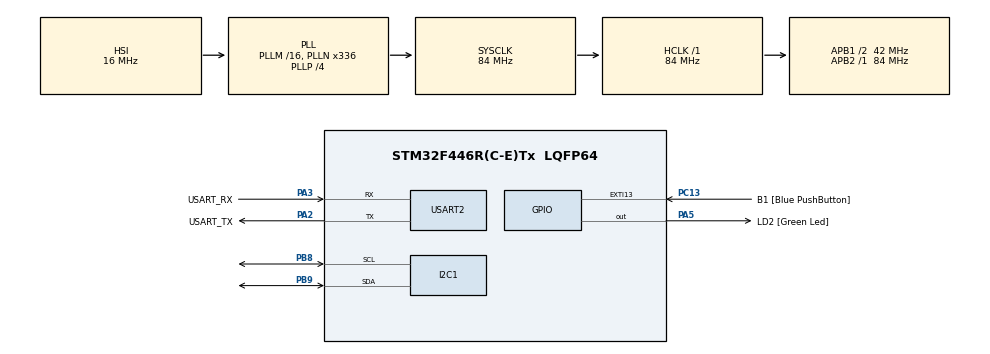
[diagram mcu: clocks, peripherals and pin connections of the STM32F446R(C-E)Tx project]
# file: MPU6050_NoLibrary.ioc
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Mcu.Family=STM32F4
Mcu.Name=STM32F446R(C-E)Tx
Mcu.Package=LQFP64
NVIC.PriorityGroup=NVIC_PRIORITYGROUP_0
NVIC.TIM3_IRQn=true\:0\:0\:false\:false\:true\:true\:true\:true
PA13.GPIO_Label=TMS
PA13.Mode=Serial_Wire
PA13.Signal=SYS_JTMS-SWDIO
PA14.GPIO_Label=TCK
PA14.Mode=Serial_Wire
PA14.Signal=SYS_JTCK-SWCLK
PA2.GPIO_Label=USART_TX
PA2.Mode=Asynchronous
PA2.Signal=USART2_TX
PA3.GPIO_Label=USART_RX
PA3.Mode=Asynchronous
PA3.Signal=USART2_RX
PA5.GPIO_Label=LD2 [Green Led]
PA5.Signal=GPIO_Output
PB3.GPIO_Label=SWO
PB3.Signal=SYS_JTDO-SWO
PB8.Mode=I2C
PB8.Signal=I2C1_SCL
PB9.Mode=I2C
PB9.Signal=I2C1_SDA
PC13.GPIO_Label=B1 [Blue PushButton]
PC13.GPIO_ModeDefaultEXTI=GPIO_MODE_IT_FALLING
PC13.Signal=GPXTI13
PC14-OSC32_IN.Mode=LSE-External-Oscillator
PC14-OSC32_IN.Signal=RCC_OSC32_IN
PC15-OSC32_OUT.Mode=LSE-External-Oscillator
PC15-OSC32_OUT.Signal=RCC_OSC32_OUT
PH0-OSC_IN.Mode=HSE-External-Oscillator
PH0-OSC_IN.Signal=RCC_OSC_IN
PH1-OSC_OUT.Mode=HSE-External-Oscillator
PH1-OSC_OUT.Signal=RCC_OSC_OUT
ProjectManager.HeapSize=0x200
ProjectManager.StackSize=0x400
ProjectManager.TargetToolchain=STM32CubeIDE
RCC.48MHZClocksFreq_Value=84000000
RCC.AHBFreq_Value=84000000
RCC.APB1CLKDivider=RCC_HCLK_DIV2
RCC.APB1Freq_Value=42000000
RCC.APB1TimFreq_Value=84000000
RCC.APB2Freq_Value=84000000
RCC.APB2TimFreq_Value=84000000
RCC.CortexFreq_Value=84000000
RCC.FLatency-AdvancedSettings=FLASH_LATENCY_2
RCC.HCLKFreq_Value=84000000
RCC.HSE_VALUE=8000000
RCC.HSI_VALUE=16000000
RCC.PLLN=336
RCC.PLLP=RCC_PLLP_DIV4
RCC.SYSCLKFreq_VALUE=84000000
RCC.SYSCLKSource=RCC_SYSCLKSOURCE_PLLCLK
RCC.USBFreq_Value=168000000
RCC.VCOOutputFreq_Value=336000000
TIM3.Period=999
TIM3.Prescaler=159
USART2.VirtualMode=VM_ASYNC
VP_TIM3_VS_ClockSourceINT.Mode=Internal
board=NUCLEO-F446RE

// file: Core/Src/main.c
/* USER CODE BEGIN Header */
/**
  ******************************************************************************
  * @file           : main.c
  * @brief          : Main program body
  ******************************************************************************
  * @attention
  *
  * Copyright (c) 2023 STMicroelectronics.
  * All rights reserved.
  *
  * This software is licensed under terms that can be found in the LICENSE file
  * in the root directory of this software component.
  * If no LICENSE file comes with this software, it is provided AS-IS.
  *
  ******************************************************************************
  */
/* USER CODE END Header */
#include "main.h"

/* USER CODE BEGIN Includes */
#include "string.h"
#include "stdio.h"
#include <math.h>
/* USER CODE END Includes */

/* USER CODE BEGIN PD */
#define WHO_I_AM 0x75
#define MPU6050_ADDR 0xD0
#define PWR_MGMT_1 0x6B
#define SMPLRT_DIV 0x19
#define GYRO_CONFIG 0x1B
#define ACCEL_CONFIG 0x1C
#define ACCEL_XOUT_H 0x3B
/* USER CODE END PD */

I2C_HandleTypeDef hi2c1;

TIM_HandleTypeDef htim3;

UART_HandleTypeDef huart2;

/* USER CODE BEGIN PV */
float x_AccelBuffer[100], y_AccelBuffer[100], z_AccelBuffer[100];
float xVitesse[100], yVitesse[100], zVitesse[100];
float x_Accel, y_Accel, z_Accel;
float vitesse;
char msg[1024];
int indice = 0;
/* USER CODE END PV */

void SystemClock_Config(void);
static void MX_GPIO_Init(void);
static void MX_USART2_UART_Init(void);
static void MX_I2C1_Init(void);
static void MX_TIM3_Init(void);

/* USER CODE BEGIN 0 */

void send_uart(char *string)
{
	uint8_t len = strlen(string);
	HAL_UART_Transmit(&huart2, (uint8_t *) string, len, 2000);
}

void MPU6050_Init()
{
	uint8_t check, Data;
	HAL_I2C_Mem_Read(&hi2c1, MPU6050_ADDR, WHO_I_AM, 1, &check, 1, 1000);
	if(check == 104)
	{
		sprintf(msg, "---Initialization OK---\r\n");
		send_uart(msg);
		Data = 0;
		HAL_I2C_Mem_Write(&hi2c1,MPU6050_ADDR, PWR_MGMT_1, 1, &Data, 1, 100);

		Data = 0x07;
		HAL_I2C_Mem_Write(&hi2c1,MPU6050_ADDR, SMPLRT_DIV, 1, &Data, 1, 100);

		Data = 0x00;
		HAL_I2C_Mem_Write(&hi2c1,MPU6050_ADDR, ACCEL_CONFIG, 1, &Data, 1, 100);

		Data = 0x00;
		HAL_I2C_Mem_Write(&hi2c1,MPU6050_ADDR, GYRO_CONFIG, 1, &Data, 1, 100);
	}
}

void MPU6050_Read_Accel()
{
	uint8_t Rec_Data[6];
	HAL_I2C_Mem_Read(&hi2c1,MPU6050_ADDR, ACCEL_XOUT_H, 1, &Rec_Data, 6, 100);

	x_Accel = (uint16_t)(Rec_Data[0] << 8 | Rec_Data[1]) / 16384.0;
	y_Accel = (uint16_t)(Rec_Data[2] << 8 | Rec_Data[3]) / 16384.0;
	z_Accel = (uint16_t)(Rec_Data[4] << 8 | Rec_Data[5]) / 16384.0;

	sprintf(msg, "Acceleration RawData -> X : %f     Y : %f     Z : %f\r\n", x_Accel, y_Accel, z_Accel);
	send_uart(msg);
}

void MPU6050_ADD_Accel_To_Buffer()
{
	uint8_t Rec_Data[6];
	HAL_I2C_Mem_Read(&hi2c1,MPU6050_ADDR, ACCEL_XOUT_H, 1, &Rec_Data, 6, 100);

	x_AccelBuffer[indice] = (uint16_t)(Rec_Data[0] << 8 | Rec_Data[1]) / 16384.0;
	y_AccelBuffer[indice] = (uint16_t)(Rec_Data[2] << 8 | Rec_Data[3]) / 16384.0;
	z_AccelBuffer[indice] = (uint16_t)(Rec_Data[4] << 8 | Rec_Data[5]) / 16384.0;
}

void getSpeed()
{
	xVitesse[0] = 0;
	yVitesse[0] = 0;
	zVitesse[0] = 0;

	for(int i = 1; i < 100; i++)
	{
		xVitesse[i] = xVitesse[i-1] + (0.01/2)*(x_AccelBuffer[i] + x_AccelBuffer[i-1]);//Formule Trapèze
		yVitesse[i] = yVitesse[i-1] + (0.01/2)*(y_AccelBuffer[i] + y_AccelBuffer[i-1]);
		zVitesse[i] = zVitesse[i-1] + (0.01/2)*(z_AccelBuffer[i] + z_AccelBuffer[i-1]);
	}
	vitesse = sqrt(pow(xVitesse[99], 2) + pow(yVitesse[99], 2) + pow(zVitesse[99], 2));//Norme

//	sprintf(msg, "Acceleration -> X : %f     Y : %f     Z : %f\r\n", xVitesse[99], yVitesse[99], zVitesse[99]);
//	send_uart(msg);
}

void HAL_TIM_PeriodElapsedCallback(TIM_HandleTypeDef *htim)
{
	HAL_GPIO_TogglePin(LD2_GPIO_Port, LD2_Pin);

	MPU6050_ADD_Accel_To_Buffer();
	indice++;

	if(indice == 100)
	{
		getSpeed();
		sprintf(msg, "Speed -> %f 	\r\n", vitesse);
		send_uart(msg);
		indice = 0;
	}
}
/* USER CODE END 0 */

int main(void)
{

  /* MCU Configuration--------------------------------------------------------*/

  /* Reset of all peripherals, Initializes the Flash interface and the Systick. */
  HAL_Init();

  /* Configure the system clock */
  SystemClock_Config();

  /* Initialize all configured peripherals */
  MX_GPIO_Init();
  MX_USART2_UART_Init();
  MX_I2C1_Init();
  MX_TIM3_Init();
  /* USER CODE BEGIN 2 */
  MPU6050_Init();
  HAL_TIM_Base_Start_IT(&htim3);
  /* USER CODE END 2 */

  /* Infinite loop */
  while (1)
  {

  }
}

void SystemClock_Config(void)
{
  RCC_OscInitTypeDef RCC_OscInitStruct = {0};
  RCC_ClkInitTypeDef RCC_ClkInitStruct = {0};

  /** Configure the main internal regulator output voltage
  */
  __HAL_RCC_PWR_CLK_ENABLE();
  __HAL_PWR_VOLTAGESCALING_CONFIG(PWR_REGULATOR_VOLTAGE_SCALE3);

  /** Initializes the RCC Oscillators according to the specified parameters
  * in the RCC_OscInitTypeDef structure.
  */
  RCC_OscInitStruct.OscillatorType = RCC_OSCILLATORTYPE_HSI;
  RCC_OscInitStruct.HSIState = RCC_HSI_ON;
  RCC_OscInitStruct.HSICalibrationValue = RCC_HSICALIBRATION_DEFAULT;
  RCC_OscInitStruct.PLL.PLLState = RCC_PLL_ON;
  RCC_OscInitStruct.PLL.PLLSource = RCC_PLLSOURCE_HSI;
  RCC_OscInitStruct.PLL.PLLM = 16;
  RCC_OscInitStruct.PLL.PLLN = 336;
  RCC_OscInitStruct.PLL.PLLP = RCC_PLLP_DIV4;
  RCC_OscInitStruct.PLL.PLLQ = 2;
  RCC_OscInitStruct.PLL.PLLR = 2;
  if (HAL_RCC_OscConfig(&RCC_OscInitStruct) != HAL_OK)
  {
    Error_Handler();
  }

  /** Initializes the CPU, AHB and APB buses clocks
  */
  RCC_ClkInitStruct.ClockType = RCC_CLOCKTYPE_HCLK|RCC_CLOCKTYPE_SYSCLK
                              |RCC_CLOCKTYPE_PCLK1|RCC_CLOCKTYPE_PCLK2;
  RCC_ClkInitStruct.SYSCLKSource = RCC_SYSCLKSOURCE_PLLCLK;
  RCC_ClkInitStruct.AHBCLKDivider = RCC_SYSCLK_DIV1;
  RCC_ClkInitStruct.APB1CLKDivider = RCC_HCLK_DIV2;
  RCC_ClkInitStruct.APB2CLKDivider = RCC_HCLK_DIV1;

  if (HAL_RCC_ClockConfig(&RCC_ClkInitStruct, FLASH_LATENCY_2) != HAL_OK)
  {
    Error_Handler();
  }
}

static void MX_I2C1_Init(void)
{

  hi2c1.Instance = I2C1;
  hi2c1.Init.ClockSpeed = 100000;
  hi2c1.Init.DutyCycle = I2C_DUTYCYCLE_2;
  hi2c1.Init.OwnAddress1 = 0;
  hi2c1.Init.AddressingMode = I2C_ADDRESSINGMODE_7BIT;
  hi2c1.Init.DualAddressMode = I2C_DUALADDRESS_DISABLE;
  hi2c1.Init.OwnAddress2 = 0;
  hi2c1.Init.GeneralCallMode = I2C_GENERALCALL_DISABLE;
  hi2c1.Init.NoStretchMode = I2C_NOSTRETCH_DISABLE;
  if (HAL_I2C_Init(&hi2c1) != HAL_OK)
  {
    Error_Handler();
  }

}

static void MX_TIM3_Init(void)
{

  TIM_ClockConfigTypeDef sClockSourceConfig = {0};
  TIM_MasterConfigTypeDef sMasterConfig = {0};

  htim3.Instance = TIM3;
  htim3.Init.Prescaler = 159;
  htim3.Init.CounterMode = TIM_COUNTERMODE_UP;
  htim3.Init.Period = 999;
  htim3.Init.ClockDivision = TIM_CLOCKDIVISION_DIV1;
  htim3.Init.AutoReloadPreload = TIM_AUTORELOAD_PRELOAD_DISABLE;
  if (HAL_TIM_Base_Init(&htim3) != HAL_OK)
  {
    Error_Handler();
  }
  sClockSourceConfig.ClockSource = TIM_CLOCKSOURCE_INTERNAL;
  if (HAL_TIM_ConfigClockSource(&htim3, &sClockSourceConfig) != HAL_OK)
  {
    Error_Handler();
  }
  sMasterConfig.MasterOutputTrigger = TIM_TRGO_RESET;
  sMasterConfig.MasterSlaveMode = TIM_MASTERSLAVEMODE_DISABLE;
  if (HAL_TIMEx_MasterConfigSynchronization(&htim3, &sMasterConfig) != HAL_OK)
  {
    Error_Handler();
  }

}

static void MX_USART2_UART_Init(void)
{

  huart2.Instance = USART2;
  huart2.Init.BaudRate = 115200;
  huart2.Init.WordLength = UART_WORDLENGTH_8B;
  huart2.Init.StopBits = UART_STOPBITS_1;
  huart2.Init.Parity = UART_PARITY_NONE;
  huart2.Init.Mode = UART_MODE_TX_RX;
  huart2.Init.HwFlowCtl = UART_HWCONTROL_NONE;
  huart2.Init.OverSampling = UART_OVERSAMPLING_16;
  if (HAL_UART_Init(&huart2) != HAL_OK)
  {
    Error_Handler();
  }

}

static void MX_GPIO_Init(void)
{
  GPIO_InitTypeDef GPIO_InitStruct = {0};

  /* GPIO Ports Clock Enable */
  __HAL_RCC_GPIOC_CLK_ENABLE();
  __HAL_RCC_GPIOH_CLK_ENABLE();
  __HAL_RCC_GPIOA_CLK_ENABLE();
  __HAL_RCC_GPIOB_CLK_ENABLE();

  /*Configure GPIO pin Output Level */
  HAL_GPIO_WritePin(LD2_GPIO_Port, LD2_Pin, GPIO_PIN_RESET);

  /*Configure GPIO pin : B1_Pin */
  GPIO_InitStruct.Pin = B1_Pin;
  GPIO_InitStruct.Mode = GPIO_MODE_IT_FALLING;
  GPIO_InitStruct.Pull = GPIO_NOPULL;
  HAL_GPIO_Init(B1_GPIO_Port, &GPIO_InitStruct);

  /*Configure GPIO pin : LD2_Pin */
  GPIO_InitStruct.Pin = LD2_Pin;
  GPIO_InitStruct.Mode = GPIO_MODE_OUTPUT_PP;
  GPIO_InitStruct.Pull = GPIO_NOPULL;
  GPIO_InitStruct.Speed = GPIO_SPEED_FREQ_LOW;
  HAL_GPIO_Init(LD2_GPIO_Port, &GPIO_InitStruct);

}

void Error_Handler(void)
{
  __disable_irq();
  while (1)
  {
  }
}
